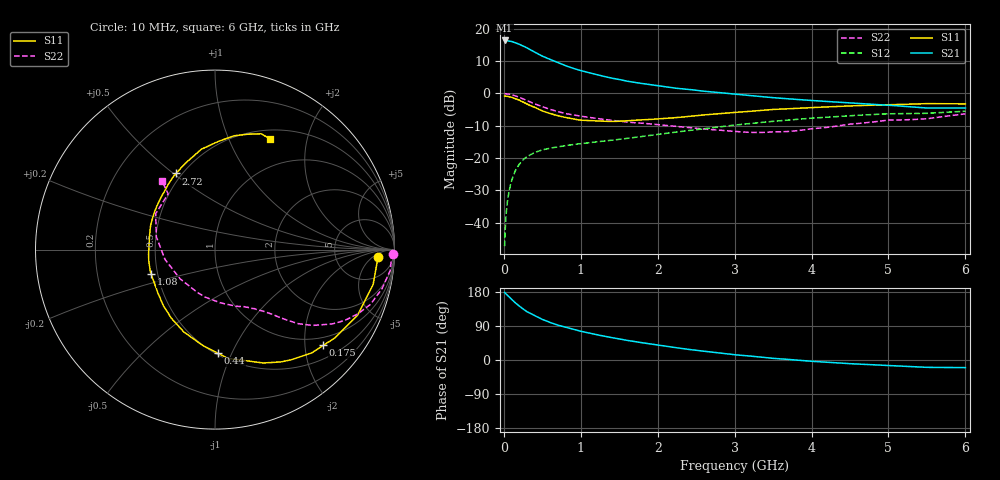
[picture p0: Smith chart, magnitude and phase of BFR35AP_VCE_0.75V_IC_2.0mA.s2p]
! Infineon Technologies  Discrete & RF Semiconductors
! BFR35AP
! VCE = 0.75 V,  IC =  2.0 mA
! Common Emitter S-Parameters:  Nov 2015
# GHz  S  MA  R  50
!  f  S11  S21  S12  S22
! GHz  MAG  ANG  MAG  ANG  MAG  ANG  MAG  ANG
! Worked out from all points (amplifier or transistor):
!   210 points, 10 MHz to 6 GHz, reference 50 ohm
!   highest |S21| = 16.4 dB at 10 MHz (marker M1)
!   |S21| within 3 dB of that: start of sweep to 353.5 MHz
!   unconditionally stable (mu >= 1): 1.049 GHz to end of sweep
!   at 185 MHz: K = 0.23, MSG = 18.9 dB, |S12| = -22.5 dB
!   at 1.52 GHz: K = 1.20, MAG = 6.5 dB, |S12| = -14.2 dB
!   at 6 GHz: K = 1.07, MAG = -1.2 dB, |S12| = -5.5 dB
!   S11 on the Smith chart (normalised r, x): 10 MHz: 17, -8; 175 MHz: 0.79, -2.41; 440 MHz: 0.51, -0.89; 1.08 GHz: 0.46, -0.15; 2.72 GHz: 0.47, +0.51; 6 GHz: 0.61, +1.43
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0.01  0.9097 -2.5  6.613 178.4  0.0043 85.0  0.9939 -1.3
0.025  0.9039 -6.2  6.592 174.9  0.0112 85.5  0.9842 -3.4
0.06  0.8934 -14.9  6.497 168.2  0.0268 80.2  0.9766 -8.1
0.1  0.8741 -24.8  6.403 160.5  0.0442 76.0  0.9559 -13.2
0.15  0.8293 -36.4  6.101 150.6  0.0636 68.8  0.9181 -19.4
0.175  0.8053 -41.5  5.924 146.7  0.0716 65.8  0.8951 -21.7
0.24  0.7456 -55.5  5.514 136.2  0.0906 59.0  0.8325 -27.8
0.3  0.6861 -67.0  5.082 127.6  0.1046 54.1  0.773 -32.4
0.4  0.6107 -83.2  4.371 117.0  0.1214 47.9  0.6893 -37.8
0.44  0.5775 -88.4  4.121 113.4  0.1262 46.0  0.6621 -39.2
0.52  0.5262 -99.9  3.695 105.6  0.1352 42.9  0.6108 -42.1
0.7  0.4535 -122.3  3.012 92.1  0.1485 38.9  0.5223 -46.4
0.8  0.4246 -132.7  2.696 86.3  0.1548 37.7  0.4878 -48.1
1.02  0.3836 -153.2  2.226 75.0  0.1675 36.3  0.4406 -51.5
1.08  0.381 -159.0  2.132 72.3  0.1707 36.2  0.4298 -52.6
1.6  0.3769 164.2  1.549 51.8  0.201 37.2  0.3603 -62.2
2.02  0.4038 143.6  1.303 38.8  0.2331 37.3  0.3259 -72.5
2.72  0.4763 117.0  1.05 20.5  0.2958 34.7  0.2738 -97.9
3.1  0.5171 106.7  0.951 12.2  0.3321 31.5  0.2528 -117.2
4.1  0.6106 86.5  0.763 -4.6  0.421 20.5  0.2897 -174.1
5.1  0.672 73.1  0.644 -15.6  0.4845 7.2  0.3869 144.9
6  0.6889 63.5  0.594 -20.1  0.53 -2.3  0.4824 127.6
